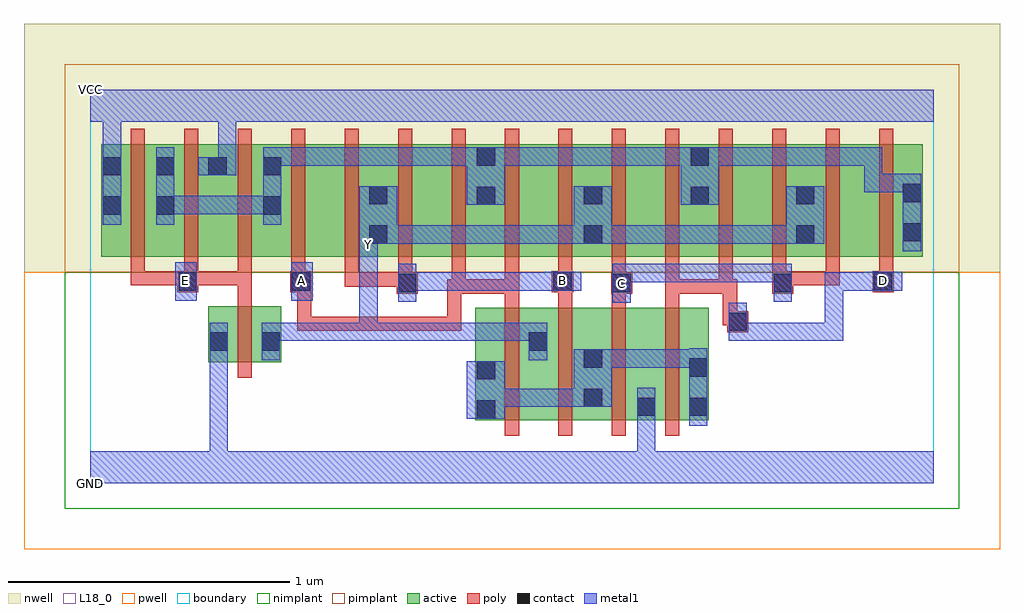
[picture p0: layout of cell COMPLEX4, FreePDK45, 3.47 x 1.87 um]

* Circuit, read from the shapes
.subckt COMPLEX4 A B C D E GND VCC Y
M1 Y E GND VSUBS nfet w=0.2u l=0.05u
M2 Y A n1 VSUBS nfet w=0.4u l=0.05u
M3 n1 B Y VSUBS nfet w=0.4u l=0.05u
M4 GND C n1 VSUBS nfet w=0.4u l=0.05u
M5 n1 D GND VSUBS nfet w=0.4u l=0.05u
M6 n2 E VCC n3 pfet w=0.4u l=0.05u m=3
M7 n4 A n2 n3 pfet w=0.4u l=0.05u
M8 Y B n4 n3 pfet w=0.4u l=0.05u
M9 n5 B Y n3 pfet w=0.4u l=0.05u
M10 n2 A n5 n3 pfet w=0.4u l=0.05u
M11 n6 A n2 n3 pfet w=0.4u l=0.05u
M12 Y B n6 n3 pfet w=0.4u l=0.05u
M13 n7 C Y n3 pfet w=0.4u l=0.05u
M14 n2 D n7 n3 pfet w=0.4u l=0.05u
M15 n8 D n2 n3 pfet w=0.4u l=0.05u
M16 Y C n8 n3 pfet w=0.4u l=0.05u
M17 n9 C Y n3 pfet w=0.4u l=0.05u
M18 n2 D n9 n3 pfet w=0.4u l=0.05u
.ends

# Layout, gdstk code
import gdstk
lib = gdstk.Library(unit=1e-6, precision=1e-09)
def R(c, l, rs):  # rectangles x0, y0, x1, y1
    for r in rs: c.add(gdstk.rectangle(r[:2], r[2:], *l))
def A(c, l, x, y, w, h, nx, ny, dx, dy):  # array of equal rectangles
    R(c, l, [(x+i*dx, y+j*dy, x+i*dx+w, y+j*dy+h) for i in range(nx) for j in range(ny)])
active = (1, 0)
pwell = (2, 0)
nwell = (3, 0)
nimplant = (4, 0)
pimplant = (5, 0)
poly = (9, 0)
contact = (10, 0)
metal1 = (11, 0)
L18_0 = (18, 0)
boundary = (235, 0)

complex4 = lib.new_cell('COMPLEX4')
A(complex4, active, 0.61, 0.805, 0.075, 0.395, 3, 1, 0.76, 0)
A(complex4, active, 1.215, 0.805, 0.23, 0.4, 3, 1, 0.38, 0)
A(complex4, active, 1.37, 0.805, 0.225, 0.4, 3, 1, 0.38, 0)
R(complex4, active, [(1.37,0.225,1.63,0.625), (1.37,0.225,1.445,0.492), (1.555,0.225,1.825,0.625), (1.75,0.225,2.015,0.625), (1.94,0.225,2.2,0.625), (1.94,0.225,2.015,0.492), (2.125,0.225,2.2,0.625), (1.75,0.267,1.825,0.492), (1.555,0.295,1.63,0.542), (0.42,0.43,0.68,0.63), (0.42,0.43,0.495,0.63), (0.605,0.467,0.68,0.63), (0.04,0.805,0.115,1.205), (0.04,0.805,0.305,1.205), (0.23,0.805,0.49,1.205), (0.23,0.805,0.305,1.2), (0.415,0.805,0.49,1.205), (0.415,0.805,0.685,1.205), (0.61,0.805,0.835,1.205), (0.835,0.805,1.062,1.205), (0.987,0.805,1.062,1.07), (0.987,0.805,1.215,1.205), (1.75,0.805,1.825,1.07), (2.355,0.805,2.58,1.205), (2.505,0.805,2.735,1.205), (2.505,0.805,2.58,1.07), (2.735,0.805,2.96,1.205), (2.885,0.805,2.96,1.2)])
R(complex4, pwell, [(-0.235,-0.235,3.235,0.75)])
R(complex4, nwell, [(-0.235,0.75,3.235,1.635)])
R(complex4, nimplant, [(-0.09,-0.09,3.09,0.75)])
R(complex4, pimplant, [(-0.09,0.75,3.09,1.49)])
A(complex4, poly, 1.475, 0.17, 0.05, 0.51, 4, 1, 0.19, 0)
A(complex4, poly, 0.145, 0.705, 0.05, 0.095, 4, 1, 0.19, 0)
A(complex4, poly, 2.425, 0.705, 0.05, 0.095, 3, 1, 0.19, 0)
A(complex4, poly, 0.145, 0.75, 0.05, 0.51, 15, 1, 0.19, 0)
R(complex4, poly, [(0.525,0.375,0.575,0.685), (2.265,0.537,2.34,0.612), (0.737,0.542,0.787,0.592), (0.737,0.542,0.787,0.592), (0.737,0.542,0.787,0.592), (0.737,0.542,1.007,0.592), (0.737,0.542,0.787,0.73), (0.957,0.542,1.007,0.592), (0.957,0.542,1.14,0.592), (1.09,0.542,1.14,0.592), (1.09,0.542,1.14,0.592), (1.09,0.542,1.14,0.592), (1.09,0.542,1.32,0.592), (1.27,0.542,1.32,0.592), (1.27,0.542,1.32,0.592), (1.27,0.542,1.32,0.592), (1.27,0.542,1.32,0.725), (2.25,0.562,2.3,0.725), (2.25,0.562,2.315,0.612), (2.265,0.562,2.315,0.612), (1.475,0.63,1.525,0.725), (1.665,0.63,1.715,0.73), (1.855,0.63,1.905,0.725), (2.045,0.63,2.095,0.725), (0.525,0.635,0.575,0.755), (1.09,0.675,1.165,0.75), (1.27,0.675,1.32,0.725), (1.27,0.675,1.32,0.725), (1.27,0.675,1.335,0.725), (1.285,0.675,1.335,0.8), (1.285,0.675,1.525,0.725), (1.475,0.675,1.525,0.725), (1.475,0.675,1.525,0.725), (1.475,0.675,1.525,0.725), (1.475,0.675,1.525,0.8), (1.852,0.675,1.927,0.75), (2.045,0.675,2.095,0.725), (2.045,0.675,2.095,0.8), (2.045,0.675,2.285,0.725), (2.235,0.675,2.285,0.725), (2.235,0.675,2.285,0.725), (2.235,0.675,2.285,0.8), (2.235,0.675,2.3,0.725), (2.425,0.675,2.5,0.755), (0.31,0.68,0.385,0.755), (0.712,0.68,0.787,0.755), (0.737,0.68,0.787,0.73), (0.737,0.68,0.787,0.73), (1.642,0.68,1.717,0.755), (2.782,0.68,2.857,0.755), (0.905,0.7,0.955,0.75), (0.905,0.7,0.955,0.75), (0.905,0.7,0.955,0.75), (0.905,0.7,0.955,0.8), (0.905,0.7,1.14,0.75), (1.095,0.7,1.145,0.8), (1.855,0.7,1.905,0.8), (0.145,0.705,0.36,0.755), (0.145,0.705,0.195,0.755), (0.31,0.705,0.36,0.755), (0.31,0.705,0.36,0.755), (0.335,0.705,0.575,0.755), (0.525,0.705,0.575,0.755), (0.525,0.705,0.575,0.755), (0.525,0.705,0.575,0.755), (1.665,0.705,1.715,0.8), (2.45,0.705,2.665,0.755), (2.45,0.705,2.5,0.755), (2.45,0.705,2.5,0.755), (2.615,0.705,2.665,0.755)])
R(complex4, contact, [(1.375,0.23,1.44,0.295), (1.945,0.24,2.01,0.305), (2.13,0.24,2.195,0.305), (1.755,0.272,1.82,0.337), (1.375,0.37,1.44,0.435), (2.13,0.38,2.195,0.445), (1.755,0.412,1.82,0.477), (0.425,0.472,0.49,0.537), (0.61,0.472,0.675,0.537), (1.56,0.472,1.625,0.537), (2.27,0.542,2.335,0.607), (1.095,0.68,1.16,0.745), (1.857,0.68,1.922,0.745), (2.43,0.68,2.495,0.745), (0.315,0.685,0.38,0.75), (0.717,0.685,0.782,0.75), (1.647,0.685,1.712,0.75), (2.787,0.685,2.852,0.75), (0.992,0.852,1.057,0.917), (1.755,0.852,1.82,0.917), (2.51,0.852,2.575,0.917), (2.89,0.86,2.955,0.925), (0.045,0.955,0.11,1.02), (0.235,0.955,0.3,1.02), (0.615,0.955,0.68,1.02), (1.375,0.99,1.44,1.055), (2.135,0.99,2.2,1.055), (0.992,0.992,1.057,1.057), (1.755,0.992,1.82,1.057), (2.51,0.992,2.575,1.057), (2.89,1,2.955,1.065), (0.045,1.095,0.11,1.16), (0.235,1.095,0.3,1.16), (0.42,1.095,0.485,1.16), (0.615,1.095,0.68,1.16), (1.375,1.13,1.44,1.195), (2.135,1.13,2.2,1.195)])
R(complex4, metal1, [(0,0,3,0.115), (0.425,0.05,0.49,0.115), (0.425,0.05,0.49,0.115), (0.425,0.05,0.49,0.115), (0.425,0.05,0.49,0.115), (0.425,0.05,0.49,0.502), (1.945,0.05,2.01,0.115), (1.945,0.05,2.01,0.115), (1.945,0.05,2.01,0.27), (1.945,0.205,2.01,0.34), (2.13,0.205,2.195,0.48), (1.34,0.23,1.475,0.435), (1.41,0.272,1.475,0.337), (1.41,0.272,1.475,0.337), (1.41,0.272,1.612,0.337), (1.547,0.272,1.612,0.337), (1.547,0.272,1.785,0.337), (1.72,0.272,1.785,0.337), (1.72,0.272,1.785,0.337), (1.72,0.272,1.855,0.477), (1.79,0.412,1.855,0.477), (1.79,0.412,1.855,0.477), (1.79,0.412,2.027,0.477), (1.962,0.412,2.027,0.477), (1.962,0.412,2.027,0.477), (1.962,0.412,2.027,0.477), (1.962,0.412,2.195,0.477), (2.13,0.412,2.195,0.477), (2.13,0.412,2.195,0.477), (0.425,0.437,0.49,0.502), (0.425,0.437,0.49,0.502), (0.425,0.437,0.49,0.572), (0.61,0.437,0.675,0.572), (1.56,0.437,1.625,0.572), (0.61,0.507,0.675,0.572), (0.61,0.507,0.675,0.572), (0.61,0.507,0.885,0.572), (0.82,0.507,0.885,0.572), (0.82,0.507,0.885,0.572), (0.82,0.507,0.885,0.572), (0.82,0.507,1.022,0.572), (0.957,0.507,1.022,0.572), (0.957,0.507,1.022,0.572), (0.957,0.507,1.022,0.572), (0.957,0.507,1.267,0.572), (0.957,0.507,1.022,0.847), (1.202,0.507,1.267,0.572), (1.202,0.507,1.335,0.572), (1.27,0.507,1.335,0.572), (1.27,0.507,1.472,0.572), (1.407,0.507,1.472,0.572), (1.407,0.507,1.472,0.572), (1.407,0.507,1.472,0.572), (1.407,0.507,1.625,0.572), (2.27,0.507,2.335,0.642), (2.27,0.507,2.372,0.572), (2.307,0.507,2.372,0.572), (2.307,0.507,2.372,0.572), (2.307,0.507,2.372,0.572), (2.307,0.507,2.54,0.572), (2.475,0.507,2.54,0.572), (2.475,0.507,2.677,0.572), (2.612,0.507,2.677,0.572), (2.612,0.507,2.677,0.75), (1.857,0.642,1.922,0.78), (1.095,0.645,1.16,0.78), (2.43,0.645,2.495,0.78), (0.302,0.65,0.38,0.787), (0.715,0.65,0.792,0.787), (1.095,0.685,1.267,0.75), (1.202,0.685,1.267,0.75), (1.202,0.685,1.297,0.75), (1.232,0.685,1.297,0.75), (1.232,0.685,1.475,0.75), (1.41,0.685,1.475,0.75), (1.41,0.685,1.475,0.75), (1.41,0.685,1.475,0.75), (1.41,0.685,1.632,0.75), (1.567,0.685,1.632,0.75), (1.567,0.685,1.677,0.75), (1.612,0.685,1.747,0.752), (2.612,0.685,2.677,0.75), (2.612,0.685,2.677,0.75), (2.612,0.685,2.677,0.75), (2.612,0.685,2.817,0.75), (2.752,0.685,2.817,0.75), (2.752,0.685,2.817,0.75), (2.752,0.685,2.887,0.752), (1.857,0.715,1.992,0.78), (1.927,0.715,1.992,0.78), (1.927,0.715,2.165,0.78), (2.1,0.715,2.165,0.78), (2.1,0.715,2.165,0.78), (2.1,0.715,2.165,0.78), (2.1,0.715,2.332,0.78), (2.267,0.715,2.332,0.78), (2.267,0.715,2.372,0.78), (2.307,0.715,2.372,0.78), (2.307,0.715,2.495,0.78), (0.957,0.782,1.022,0.917), (2.89,0.825,2.955,1.1), (0.957,0.852,1.022,0.917), (0.957,0.852,1.092,1.057), (1.027,0.852,1.23,0.917), (1.027,0.852,1.092,0.917), (1.027,0.852,1.092,0.917), (1.165,0.852,1.23,0.917), (1.165,0.852,1.297,0.917), (1.232,0.852,1.297,0.917), (1.232,0.852,1.475,0.917), (1.41,0.852,1.475,0.917), (1.41,0.852,1.475,0.917), (1.41,0.852,1.475,0.917), (1.41,0.852,1.612,0.917), (1.547,0.852,1.612,0.917), (1.547,0.852,1.612,0.917), (1.547,0.852,1.612,0.917), (1.547,0.852,1.785,0.917), (1.72,0.852,1.855,1.057), (1.79,0.852,2.027,0.917), (1.962,0.852,2.165,0.917), (1.962,0.852,2.027,0.917), (1.962,0.852,2.027,0.917), (1.962,0.852,2.027,0.917), (2.1,0.852,2.165,0.917), (2.1,0.852,2.165,0.917), (2.1,0.852,2.165,0.917), (2.1,0.852,2.332,0.917), (2.267,0.852,2.332,0.917), (2.267,0.852,2.372,0.917), (2.307,0.852,2.372,0.917), (2.307,0.852,2.54,0.917), (2.475,0.852,2.54,0.917), (2.475,0.852,2.54,0.917), (2.475,0.852,2.61,1.057), (0.045,0.92,0.11,1.195), (0.235,0.92,0.3,1.195), (0.615,0.92,0.68,1.195), (0.235,0.957,0.3,1.022), (0.235,0.957,0.3,1.022), (0.235,0.957,0.517,1.022), (0.452,0.957,0.517,1.022), (0.452,0.957,0.517,1.022), (0.452,0.957,0.517,1.022), (0.452,0.957,0.68,1.022), (1.34,0.99,1.475,1.195), (2.1,0.99,2.235,1.195), (2.752,1.035,2.955,1.1), (2.752,1.035,2.817,1.1), (2.752,1.035,2.817,1.1), (2.752,1.035,2.817,1.1), (2.752,1.035,2.817,1.195), (0.385,1.095,0.52,1.16), (0.455,1.095,0.52,1.35), (0.045,1.13,0.11,1.35), (0.615,1.13,0.68,1.195), (0.615,1.13,0.68,1.195), (0.615,1.13,0.885,1.195), (0.82,1.13,0.885,1.195), (0.82,1.13,0.885,1.195), (0.82,1.13,0.885,1.195), (0.82,1.13,0.885,1.195), (0.82,1.13,0.885,1.195), (0.82,1.13,1.092,1.195), (1.027,1.13,1.23,1.195), (1.027,1.13,1.092,1.195), (1.027,1.13,1.092,1.195), (1.027,1.13,1.092,1.195), (1.165,1.13,1.23,1.195), (1.165,1.13,1.297,1.195), (1.232,1.13,1.297,1.195), (1.232,1.13,1.405,1.195), (1.41,1.13,1.475,1.195), (1.41,1.13,1.475,1.195), (1.41,1.13,1.647,1.195), (1.582,1.13,1.785,1.195), (1.582,1.13,1.647,1.195), (1.582,1.13,1.647,1.195), (1.582,1.13,1.647,1.195), (1.72,1.13,1.785,1.195), (1.72,1.13,2.027,1.195), (1.962,1.13,2.165,1.195), (1.962,1.13,2.027,1.195), (1.962,1.13,2.027,1.195), (1.962,1.13,2.027,1.195), (2.1,1.13,2.165,1.195), (2.1,1.13,2.165,1.195), (2.17,1.13,2.332,1.195), (2.267,1.13,2.332,1.195), (2.267,1.13,2.372,1.195), (2.307,1.13,2.372,1.195), (2.307,1.13,2.54,1.195), (2.475,1.13,2.54,1.195), (2.475,1.13,2.68,1.195), (2.615,1.13,2.68,1.195), (2.615,1.13,2.68,1.195), (2.615,1.13,2.68,1.195), (2.615,1.13,2.817,1.195), (2.752,1.13,2.817,1.195), (0,1.285,3,1.4)])
R(complex4, L18_0, [(0,0,3,0.115), (0.425,0.05,0.49,0.115), (0.425,0.05,0.49,0.115), (0.425,0.05,0.49,0.115), (0.425,0.05,0.49,0.115), (0.425,0.05,0.49,0.502), (1.945,0.05,2.01,0.27), (1.945,0.05,2.01,0.115), (1.945,0.05,2.01,0.115), (1.945,0.205,2.01,0.34), (0.425,0.437,0.49,0.502), (0.425,0.437,0.49,0.502), (0.425,0.437,0.49,0.572), (0.61,0.437,0.675,0.572), (1.56,0.437,1.625,0.572), (0.61,0.507,0.675,0.572), (0.61,0.507,0.675,0.572), (0.61,0.507,0.885,0.572), (0.82,0.507,0.885,0.572), (0.82,0.507,0.885,0.572), (0.82,0.507,0.885,0.572), (0.82,0.507,1.022,0.572), (0.957,0.507,1.022,0.572), (0.957,0.507,1.022,0.572), (0.957,0.507,1.022,0.572), (0.957,0.507,1.022,0.847), (0.957,0.507,1.267,0.572), (1.202,0.507,1.267,0.572), (1.202,0.507,1.335,0.572), (1.27,0.507,1.335,0.572), (1.27,0.507,1.472,0.572), (1.407,0.507,1.472,0.572), (1.407,0.507,1.472,0.572), (1.407,0.507,1.472,0.572), (1.407,0.507,1.625,0.572), (2.27,0.507,2.335,0.642), (2.27,0.507,2.372,0.572), (2.307,0.507,2.372,0.572), (2.307,0.507,2.372,0.572), (2.307,0.507,2.372,0.572), (2.307,0.507,2.54,0.572), (2.475,0.507,2.54,0.572), (2.475,0.507,2.677,0.572), (2.612,0.507,2.677,0.572), (2.612,0.507,2.677,0.75), (1.857,0.642,1.922,0.78), (1.095,0.645,1.16,0.78), (2.43,0.645,2.495,0.78), (0.302,0.65,0.38,0.787), (0.715,0.65,0.792,0.787), (1.857,0.677,1.922,0.742), (1.095,0.685,1.267,0.75), (1.202,0.685,1.267,0.75), (1.202,0.685,1.297,0.75), (1.232,0.685,1.297,0.75), (1.232,0.685,1.475,0.75), (1.41,0.685,1.475,0.75), (1.41,0.685,1.475,0.75), (1.41,0.685,1.475,0.75), (1.41,0.685,1.632,0.75), (1.567,0.685,1.632,0.75), (1.567,0.685,1.677,0.75), (1.612,0.685,1.747,0.752), (2.612,0.685,2.677,0.75), (2.612,0.685,2.677,0.75), (2.612,0.685,2.677,0.75), (2.612,0.685,2.817,0.75), (2.752,0.685,2.817,0.75), (2.752,0.685,2.817,0.75), (2.752,0.685,2.887,0.752), (0.307,0.687,0.372,0.752), (0.717,0.687,0.782,0.752), (1.647,0.687,1.712,0.752), (2.787,0.687,2.852,0.752), (1.857,0.715,1.992,0.78), (1.927,0.715,1.992,0.78), (1.927,0.715,2.165,0.78), (2.1,0.715,2.165,0.78), (2.1,0.715,2.165,0.78), (2.1,0.715,2.165,0.78), (2.1,0.715,2.332,0.78), (2.267,0.715,2.332,0.78), (2.267,0.715,2.372,0.78), (2.307,0.715,2.372,0.78), (2.307,0.715,2.495,0.78), (0.957,0.782,1.022,0.917), (0.957,0.817,1.022,0.882), (0.957,0.852,1.022,0.917), (0.957,0.852,1.092,1.057), (1.027,0.852,1.092,0.917), (1.027,0.852,1.092,0.917), (1.027,0.852,1.23,0.917), (1.165,0.852,1.23,0.917), (1.165,0.852,1.297,0.917), (1.232,0.852,1.297,0.917), (1.232,0.852,1.475,0.917), (1.41,0.852,1.475,0.917), (1.41,0.852,1.475,0.917), (1.41,0.852,1.475,0.917), (1.41,0.852,1.612,0.917), (1.547,0.852,1.612,0.917), (1.547,0.852,1.612,0.917), (1.547,0.852,1.612,0.917), (1.547,0.852,1.785,0.917), (1.72,0.852,1.855,1.057), (1.79,0.852,2.027,0.917), (1.962,0.852,2.027,0.917), (1.962,0.852,2.027,0.917), (1.962,0.852,2.027,0.917), (1.962,0.852,2.165,0.917), (2.1,0.852,2.165,0.917), (2.1,0.852,2.165,0.917), (2.1,0.852,2.165,0.917), (2.1,0.852,2.332,0.917), (2.267,0.852,2.332,0.917), (2.267,0.852,2.372,0.917), (2.307,0.852,2.372,0.917), (2.307,0.852,2.54,0.917), (2.475,0.852,2.54,0.917), (2.475,0.852,2.54,0.917), (2.475,0.852,2.61,1.057), (0.045,0.92,0.11,1.195), (0.385,1.095,0.52,1.16), (0.455,1.095,0.52,1.35), (0.045,1.13,0.11,1.35), (0,1.285,3,1.4)])
R(complex4, boundary, [(0,0,3,1.4)])
complex4.add(gdstk.Label('A', (0.75,0.72), layer=11, texttype=0))
complex4.add(gdstk.Label('B', (1.68,0.72), layer=11, texttype=0))
complex4.add(gdstk.Label('C', (1.89,0.71), layer=11, texttype=0))
complex4.add(gdstk.Label('D', (2.82,0.72), layer=11, texttype=0))
complex4.add(gdstk.Label('E', (0.34,0.72), layer=11, texttype=0))
complex4.add(gdstk.Label('Y', (0.99,0.85), layer=11, texttype=0))
complex4.add(gdstk.Label('VCC', (0,1.4), layer=11, texttype=0))
complex4.add(gdstk.Label('GND', (0,0), layer=11, texttype=0))

lib.write_gds('COMPLEX4.gds')
